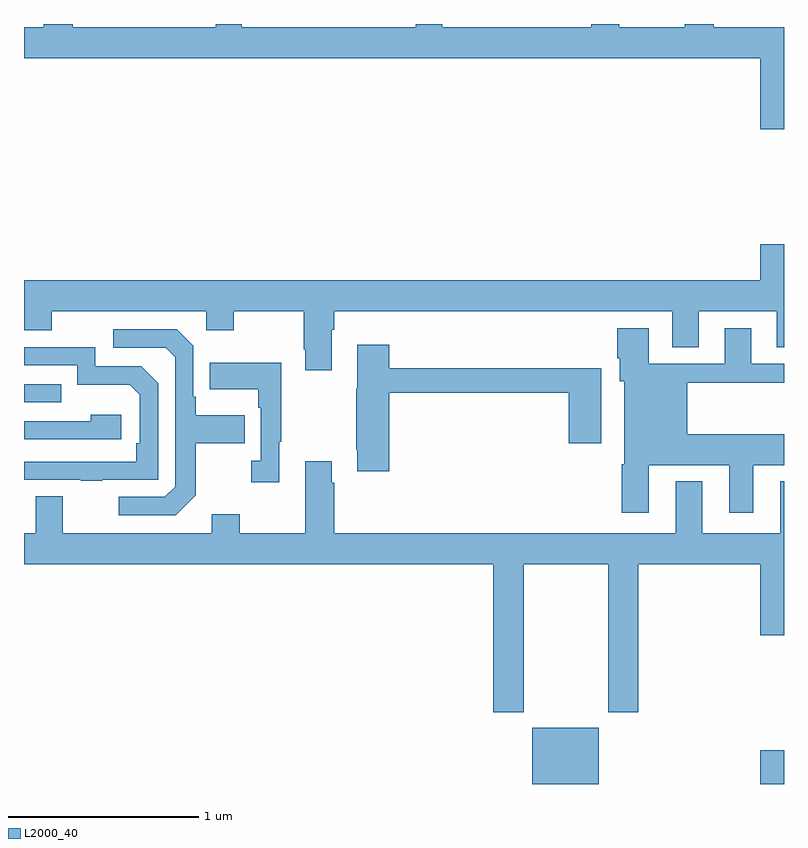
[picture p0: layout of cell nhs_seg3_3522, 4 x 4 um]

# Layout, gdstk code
import gdstk
lib = gdstk.Library(unit=1e-6, precision=1e-09)
def R(c, l, rs):  # rectangles x0, y0, x1, y1
    for r in rs: c.add(gdstk.rectangle(r[:2], r[2:], *l))
def P(c, l, *ps):  # polygons
    for p in ps: c.add(gdstk.Polygon(p, *l))
L2000_40 = (2000, 40)

nhs_seg3_3522 = lib.new_cell('nhs_seg3_3522')
R(nhs_seg3_3522, L2000_40, [(295.676,726.4,296.026,726.697), (296.876,726.4,297,726.577), (293,728.409,293.195,728.505)])
P(nhs_seg3_3522, L2000_40, [(297,730.384),(296.63,730.384),(296.63,730.4),(296.477,730.4),(296.477,730.384),(296.133,730.384),(296.133,730.4),(295.985,730.4),(295.985,730.384),(295.201,730.384),(295.201,730.4),(295.061,730.4),(295.061,730.384),(294.147,730.384),(294.147,730.4),(294.009,730.4),(294.009,730.384),(293.257,730.384),(293.257,730.4),(293.105,730.4),(293.105,730.384),(293,730.384),(293,730.22),(296.876,730.22),(296.876,729.846),(297,729.846)],
  [(294.619,728.792),(294.632,728.792),(294.632,728.888),(296.411,728.888),(296.411,728.698),(296.551,728.698),(296.551,728.888),(296.963,728.888),(296.963,728.698),(297,728.698),(297,729.241),(296.876,729.241),(296.876,729.052),(293,729.052),(293,728.789),(293.145,728.789),(293.145,728.888),(293.958,728.888),(293.958,728.789),(294.105,728.789),(294.105,728.888),(294.472,728.888),(294.472,728.689),(294.479,728.689),(294.479,728.577),(294.619,728.577)],
  [(296.287,728.078),(296.711,728.078),(296.711,727.827),(296.839,727.827),(296.839,728.078),(297,728.078),(297,728.242),(296.491,728.242),(296.491,728.512),(297,728.512),(297,728.613),(296.827,728.613),(296.827,728.8),(296.687,728.8),(296.687,728.613),(296.287,728.613),(296.287,728.8),(296.123,728.8),(296.123,728.641),(296.135,728.641),(296.135,728.52),(296.159,728.52),(296.159,728.082),(296.147,728.082),(296.147,727.827),(296.287,727.827)],
  [(293.905,727.921),(293.905,728.194),(294.161,728.194),(294.161,728.341),(293.905,728.341),(293.905,728.437),(293.892,728.437),(293.892,728.706),(293.805,728.793),(293.469,728.793),(293.469,728.697),(293.745,728.697),(293.796,728.646),(293.796,727.965),(293.742,727.911),(293.499,727.911),(293.499,727.815),(293.799,727.815)],
  [(294.923,728.458),(295.868,728.458),(295.868,728.193),(296.038,728.193),(296.038,728.587),(294.923,728.587),(294.923,728.713),(294.755,728.713),(294.755,728.481),(294.748,728.481),(294.748,728.158),(294.755,728.158),(294.755,728.046),(294.923,728.046)],
  [(293.411,728.001),(293.706,728.001),(293.706,728.508),(293.616,728.598),(293.376,728.598),(293.376,728.7),(293,728.7),(293,728.604),(293.28,728.604),(293.28,728.501),(293.557,728.501),(293.61,728.448),(293.61,728.194),(293.59,728.194),(293.59,728.097),(293,728.097),(293,728.001),(293.299,728.001),(293.299,727.996),(293.411,727.996)],
  [(294.343,728.201),(294.355,728.201),(294.355,728.617),(293.977,728.617),(293.977,728.477),(294.234,728.477),(294.234,728.381),(294.246,728.381),(294.246,728.102),(294.195,728.102),(294.195,727.989),(294.343,727.989)],
  [(293.512,728.344),(293.351,728.344),(293.351,728.31),(293,728.31),(293,728.214),(293.512,728.214)],
  [(295.629,727.556),(296.074,727.556),(296.074,726.777),(296.234,726.777),(296.234,727.556),(296.876,727.556),(296.876,727.182),(297,727.182),(297,727.993),(296.981,727.993),(296.981,727.72),(296.569,727.72),(296.569,727.993),(296.429,727.993),(296.429,727.72),(294.632,727.72),(294.632,727.985),(294.619,727.985),(294.619,728.098),(294.479,728.098),(294.479,727.72),(294.135,727.72),(294.135,727.819),(293.987,727.819),(293.987,727.72),(293.203,727.72),(293.203,727.915),(293.063,727.915),(293.063,727.72),(293,727.72),(293,727.556),(295.469,727.556),(295.469,726.777),(295.629,726.777)])

lib.write_gds('nhs_seg3_3522.gds')
